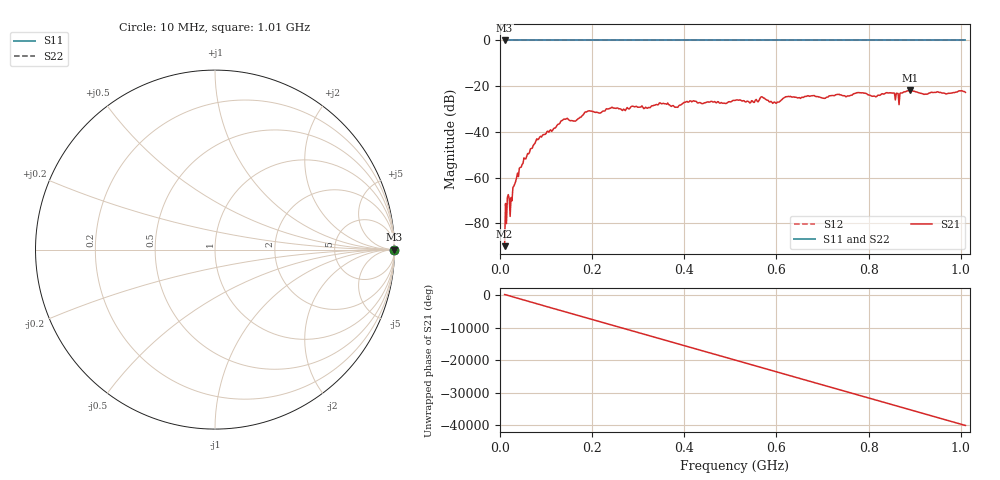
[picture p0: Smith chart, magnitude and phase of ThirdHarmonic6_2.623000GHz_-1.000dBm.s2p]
! 8/17/2025 5:49:08 AM
! C:\ANRITSUVNA\TEMP\TEMP.S2P
! CHANNEL.1
! TR.MEASUREMENT
! RAW.DATA
! RF.CORRECTION.OFF
! AVERAGING.OFF
! IF.BANDWIDTH: 5KHZ
! SWEEPTYPE:  FREQ.SWEEP(Linear)
! Reference Plane Port Info
! PORT:  PORT1  PORT2
! DISTANCE:  0  m  0  m
! TIME:  0  s  0  s
! PHASE.OFFSET:  0  deg.  0  deg.
! LOSS:  0  dB  0  dB
! REF.LOSS:  0  dB  0  dB
! REF.FREQ:  0  Hz  0  Hz
! Power Info
! POWER:  -20  dBm  -20  dBm
! EFF.POWER:  -20  dBm  -20  dBm
! SOURCE.ATTEN:  0  dB  0  dB
! TEST.ATTEN:  0  dB  0  dB
# GHZ S RI R 50.0
! FREQ.GHZ  S11RE  S11IM  S21RE  S21IM  S12RE  S12IM  S22RE  S22IM
!; PortSelection: Port_12
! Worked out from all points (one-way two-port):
!   501 points, 10 MHz to 1.01 GHz, reference 50 ohm
!   highest |S21| = -21.88 dB at 890 MHz (marker M1); lowest = -90.0 dB at 10 MHz (marker M2)
!   lowest |S11| = 0.0 dB at 10 MHz (marker M3)
!   |S11| at or under -10 dB: nowhere
!   |S22| runs from 0.0 to 0.0 dB; largest |S21 - S12| = 1.1
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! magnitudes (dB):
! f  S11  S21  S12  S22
! 10 MHz  0.0  -90.0  0.0  0.0
! 16 MHz  0.0  -68.7  0.0  0.0
! 18 MHz  0.0  -67.4  0.0  0.0
! 26 MHz  0.0  -70.2  0.0  0.0
! 32 MHz  0.0  -62.8  0.0  0.0
! 40 MHz  0.0  -59.6  0.0  0.0
! 76 MHz  0.0  -45.0  0.0  0.0
! 136 MHz  0.0  -34.9  0.0  0.0
! 178 MHz  0.0  -33.0  0.0  0.0
! 194 MHz  0.0  -30.8  0.0  0.0
! 344 MHz  0.0  -28.0  0.0  0.0
! 382 MHz  0.0  -29.1  0.0  0.0
! 416 MHz  0.0  -26.8  0.0  0.0
! 510 MHz  0.0  -26.3  0.0  0.0
! 570 MHz  0.0  -24.9  0.0  0.0
! 596 MHz  0.0  -26.9  0.0  0.0
! 622 MHz  0.0  -24.6  0.0  0.0
! 678 MHz  0.0  -24.2  0.0  0.0
! 844 MHz  0.0  -23.0  0.0  0.0
! 862 MHz  0.0  -23.1  0.0  0.0
! 890 MHz  0.0  -21.9  0.0  0.0
! 1.01 GHz  0.0  -22.7  0.0  0.0
